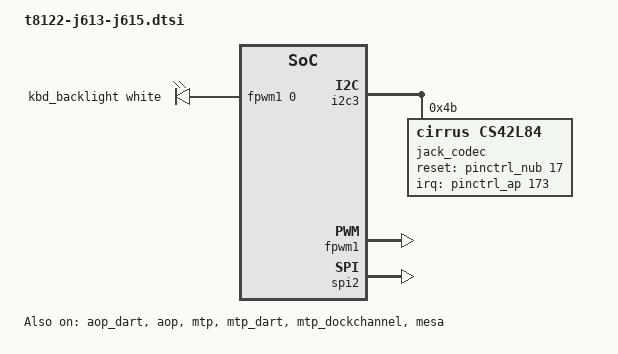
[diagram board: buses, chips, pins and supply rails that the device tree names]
// SPDX-License-Identifier: GPL-2.0+ OR MIT
/*
 * Apple MacBook Air (13-inch and 15-inch, M3, 2024)
 *
 * This file contains the parts common to J613 and J615 devices with t8122.
 *
 * target-type: J613, J615
 *
 * Copyright The Asahi Linux Contributors
 */

#include "t8122-usbpd-spmi.dtsi"
#include "t8122-jxxx.dtsi"
#include <dt-bindings/leds/common.h>

/ {
	chassis-type = "laptop";

	aliases {
		dcpext = &dcpext;
		keyboard = &keyboard;
		sep = &sep;
	};

	led-controller {
		compatible = "pwm-leds";
		led-0 {
			pwms = <&fpwm1 0 40000>;
			label = "kbd_backlight";
			function = LED_FUNCTION_KBD_BACKLIGHT;
			color = <LED_COLOR_ID_WHITE>;
			max-brightness = <255>;
			default-state = "keep";
		};
	};
};

&aop_mbox {
	status = "okay";
};

&aop_dart {
	status = "okay";
};

&aop_admac {
	status = "okay";
};

&aop {
	status = "okay";
};

&aop_audio {
	apple,machine-kind = "MacBook Air";
};

&i2c3 {
	jack_codec: codec@4b {
		compatible = "cirrus,cs42l84";
		reg = <0x4b>;
		reset-gpios = <&pinctrl_nub 17 GPIO_ACTIVE_HIGH>;
		#sound-dai-cells = <0>;
		interrupts-extended = <&pinctrl_ap 173 IRQ_TYPE_LEVEL_LOW>;
		sound-name-prefix = "Jack";
	};
};

&fpwm1 {
	status = "okay";
};

&mtp {
	status = "okay";
};

&mtp_mbox {
	status = "okay";
};

&mtp_dart {
	status = "okay";
};

&mtp_dockchannel {
	status = "okay";
};

&mtp_hid {
	apple,afe-reset-gpios = <&smc_gpio 8 GPIO_ACTIVE_LOW>;
	apple,stm-reset-gpios = <&smc_gpio 24 GPIO_ACTIVE_LOW>;

	mtp_mt: multi-touch {
	};

	keyboard: keyboard {
		hid-country-code = <0>;
		apple,keyboard-layout-id = <0>;
	};

	stm {
	};

	actuator {
	};

	tp_accel {
	};
};

#include "isp-imx558-cfg0.dtsi"

&isp {
	apple,platform-id = <18>;
	apple,temporal-filter = <1>;
};

/* Touch ID; its data-ready line (AP GPIO 199) is left out, so it polls. */
&spi2 {
	status = "okay";
};

&mesa {
	status = "okay";
	enable-gpios = <&pinctrl_nub 29 GPIO_ACTIVE_HIGH>;
	spi-cs-setup-delay-ns = <20>;
	spi-cs-hold-delay-ns = <20>;
};

#include "hwmon-laptop.dtsi"

/*
 * One external display on either USB-C port: dcpext is crossbar state 2 of
 * each ATC and its DPTX target is the ATC index. The display gate enables it
 * and the routes once the boot loader has readied its firmware.
 */
&dcpext {
	apple,connector-type = "USB-C";
	phys = <&atcphy0 PHY_TYPE_DP>, <&atcphy1 PHY_TYPE_DP>;
	phy-names = "typec0", "typec1";
	mux-controls = <&atcphy0_xbar 0>, <&atcphy1_xbar 0>;
	mux-control-names = "typec0", "typec1";
	apple,typec-mux-indices = <2 2>;
	apple,typec-dptx-phys = <0 1>;
	/* RTKit quirks of AsahiLinux/linux#607 (syslog/ioreport acks, kdebug). */
	apple,sync-syslog-ack;

	typec-routes {
		#address-cells = <1>;
		#size-cells = <0>;

		route@0 {
			reg = <0>;
			mode-switch;
			status = "disabled";

			port {
				dcpext_typec0: endpoint {
					remote-endpoint = <&typec0_dcpext>;
				};
			};
		};

		route@1 {
			reg = <1>;
			mode-switch;
			status = "disabled";

			port {
				dcpext_typec1: endpoint {
					remote-endpoint = <&typec1_dcpext>;
				};
			};
		};
	};
};

&typec0 {
	ports {
		port@3 {
			reg = <3>;

			typec0_dcpext: endpoint {
				remote-endpoint = <&dcpext_typec0>;
			};
		};
	};
};

&typec1 {
	ports {
		port@3 {
			reg = <3>;

			typec1_dcpext: endpoint {
				remote-endpoint = <&dcpext_typec1>;
			};
		};
	};
};
